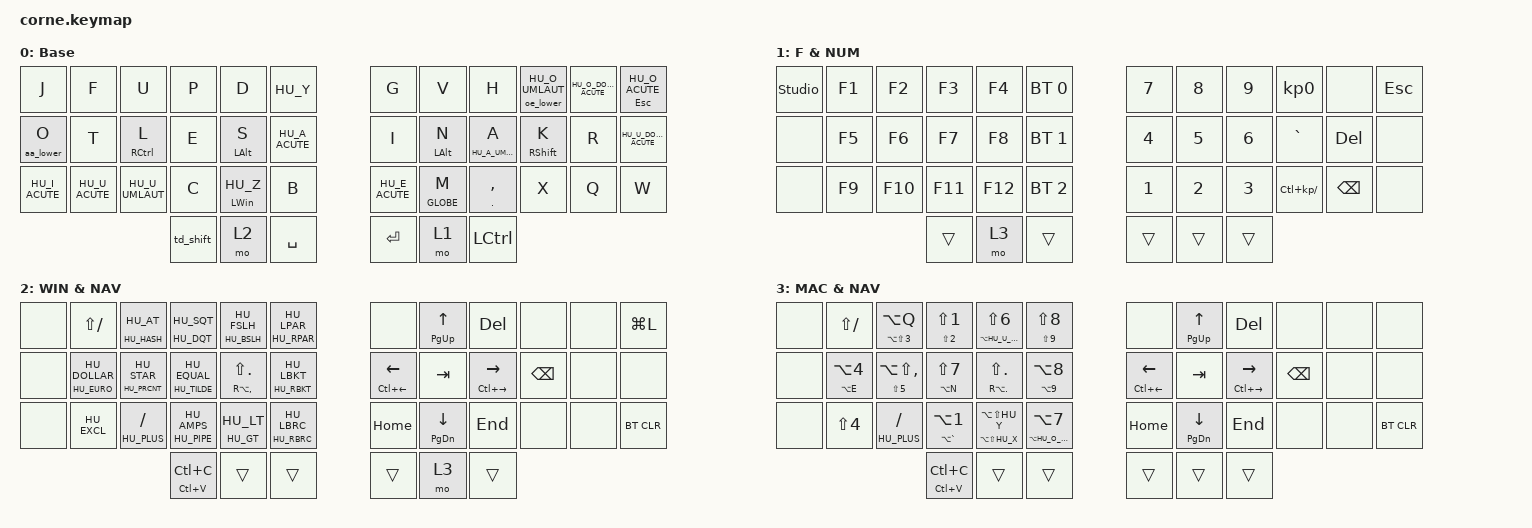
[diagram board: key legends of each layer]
/*
 * Copyright (c) 2020 The ZMK Contributors
 *
 * SPDX-License-Identifier: MIT
 */ 

#include <behaviors.dtsi>
#include <dt-bindings/zmk/keys.h>
#include <dt-bindings/zmk/bt.h>
#include "keys_hu.h"

/ {
    behaviors {
        hm: homerow_mods {
            compatible = "zmk,behavior-hold-tap";
            #binding-cells = <2>;
            tapping-term-ms = <250>;
            quick-tap-ms = <0>;
            flavor = "tap-preferred";
            bindings = <&kp>, <&kp>;
        };
        // DEDICATED hold-taps for oe_morph/aa_morph. The generic `hm` above
        // is hard-wired to &kp on both sides - passing &oe_morph/&aa_morph as
        // its param turns the phandle into a raw (garbage) keycode instead of
        // invoking the behavior. These name oe_morph/aa_morph directly as the
        // hold-side behavior, so HOLD really runs the mod-morph and TAP runs
        // &kp. The first invocation param is unused (oe_morph/aa_morph take
        // none) - pass 0.
        hm_oe: hm_oe {
            compatible = "zmk,behavior-hold-tap";
            #binding-cells = <2>;
            tapping-term-ms = <250>;
            quick-tap-ms = <0>;
            flavor = "tap-preferred";
            bindings = <&oe_lower>, <&kp>;
        };
        hm_aa: hm_aa {
            compatible = "zmk,behavior-hold-tap";
            #binding-cells = <2>;
            tapping-term-ms = <250>;
            quick-tap-ms = <0>;
            flavor = "tap-preferred";
            bindings = <&aa_lower>, <&kp>;
        };
        // Tap the thumb SHIFT key once for a normal shift, twice within
        // 300ms for caps word (auto-releases after the next word).
        td_shift: tap_dance_shift {
            compatible = "zmk,behavior-tap-dance";
            #binding-cells = <0>;
            tapping-term-ms = <300>;
            bindings = <&kp LSHIFT>, <&caps_word>;
        };
    };

        macros {
            ctrl_ctv: ctrl_ctv {
                compatible = "zmk,behavior-macro";
                #binding-cells = <0>;
                bindings
                    = <&macro_press &kp LCTRL>
                    , <&macro_tap &kp C &kp T &kp V>
                    , <&macro_release &kp LCTRL>
                    , <&macro_tap &kp RET>
                    ;
            };
            // TWO installed languages (Ctrl+Shift+1) and DIRECT per-language
            // switch hotkeys, not the generic Alt+Shift toggle - four
            // languages are installed, so a toggle would cycle through all
            // four instead of flipping Hungarian<->Norwegian. Windows'
            // "input language hot keys" dialog assigns Ctrl+Shift+<list
            // position> per language: Hungarian = 1, Norwegian = 2 here. Each
            // switch macro jumps straight to its target regardless of how
            // many other languages exist.
            //
            // wait-ms is 120, not 5: the OS needs a moment to actually apply
            // the language switch before the next keystroke is interpreted
            // under it - firing the letter immediately risks it landing on
            // the OLD layout still.
            //
            // Physical keys used, on the Norwegian layout: the key at the [
            // position is å/Å, the key at the ; position is ø/Ø.
            switch_to_no: switch_to_no {
                compatible = "zmk,behavior-macro";
                #binding-cells = <0>;
                wait-ms = <120>;
                tap-ms = <5>;
                bindings
                    = <&macro_press &kp LCTRL &kp LSHIFT>
                    , <&macro_tap &kp N2>
                    , <&macro_release &kp LCTRL &kp LSHIFT>
                    ;
            };
            switch_to_hu: switch_to_hu {
                compatible = "zmk,behavior-macro";
                #binding-cells = <0>;
                wait-ms = <120>;
                tap-ms = <5>;
                bindings
                    = <&macro_press &kp LCTRL &kp LSHIFT>
                    , <&macro_tap &kp N1>
                    , <&macro_release &kp LCTRL &kp LSHIFT>
                    ;
            };
            aa_lower: aa_lower {
                compatible = "zmk,behavior-macro";
                #binding-cells = <0>;
                wait-ms = <120>;
                tap-ms = <5>;
                bindings
                    = <&macro_tap &switch_to_no>
                    , <&macro_tap &kp LBKT>
                    , <&macro_tap &switch_to_hu>
                    ;
            };
            oe_lower: oe_lower {
                compatible = "zmk,behavior-macro";
                #binding-cells = <0>;
                wait-ms = <120>;
                tap-ms = <5>;
                bindings
                    = <&macro_tap &switch_to_no>
                    , <&macro_tap &kp SEMI>
                    , <&macro_tap &switch_to_hu>
                    ;
            };
        };

        combos{
                compatible = "zmk,combos";
                combo_alt_shift_up {
                    timeout-ms = <50>;
                    key-positions = <6 18>;
                    bindings = <&kp LA(LS(UP_ARROW))>;
                };

                combo_alt_shift_down {
                    timeout-ms = <50>;
                    key-positions = <18 30>;
                    bindings = <&kp LA(LS(DOWN_ARROW))>;
                };

                combo_ctrl_enter {
                    timeout-ms = <50>;
                    key-positions = <6 7>;
                    bindings = <&kp LC(ENTER)>;
                };
                combo_ctrl_f {
                    timeout-ms = <50>;
                    key-positions = <4 5>;
                    bindings = <&kp LC(F)>;
                };
                combo_ctrl_ctv {
                    timeout-ms = <50>;
                    key-positions = <16 17>;
                    bindings = <&ctrl_ctv>;
                };
                combo_alt_f4 {
                    timeout-ms = <50>;
                    key-positions = <10 11>;
                    bindings = <&kp LA(F4)>;
                };
                
        };

         
        keymap {
                compatible = "zmk,keymap";

                default_layer { 
                        display-name = "Base";
                        bindings = <
// ╭───────────────────┬───────────────┬────────────────┬─────────────┬─────────────────┬────────────────╮ ╭───────────────┬─────────────────────┬─────────────────┬───────────────────┬─────────────────────┬───────────────────────╮
// | j                 |  f            |  u             |  p          |  d              |  y             | |  g            |  v                  |  h              |  ö (Ø)            |  ő                  |  ó (ESC)              |11
     &kp J                &kp F           &kp  U           &kp P         &kp D             &kp HU_Y           &kp G           &kp V                 &kp H           &hm_oe 0 HU_O_UMLAUT &kp HU_O_DOUBLE_ACUTE  &hm ESC HU_O_ACUTE      
// ├───────────────────┼───────────────┼────────────────┼─────────────┼─────────────────┼────────────────┤ ├───────────────┼─────────────────────┼─────────────────┼───────────────────┼─────────────────────┼───────────────────────┤
// | o (å)             |  t            |  l (CRTL)      |  e          |  s _(ALT/OPTION)|  á             | |  i            |  n _ (ALT/OPTION)   |   a (ä)         |  k (SHIFT)        |   r                 | ű                     |23
     &hm_aa 0 O           &kp T           &hm RCTRL L      &kp E         &hm LALT S        &kp HU_A_ACUTE     &kp I           &hm LALT N          &hm HU_A_UMLAUT A   &hm RSHIFT K         &kp R               &kp HU_U_DOUBLE_ACUTE  
// ├───────────────────┼───────────────┼────────────────┼─────────────┼─────────────────┼────────────────┤ ├───────────────┼─────────────────────┼─────────────────┼───────────────────┼─────────────────────┼───────────────────────┤    
// | í                 |  ú            |  ü             |  c          |  z (WIN/CONTROL)|  b             | |  é            |  m (FN)             |  , (.)          |  x                |   q                 |  w                    |35 
     &kp HU_I_ACUTE      &kp HU_U_ACUTE  &kp HU_U_UMLAUT  &kp C          &hm LWIN HU_Z     &kp B             &kp HU_E_ACUTE   &hm GLOBE M           &hm DOT COMMA     &kp X                &kp Q                &kp W
// ╰───────────────────┴───────────────┴────────────────┼─────────────┼─────────────────┼────────────────┤ ├───────────────┼─────────────────────┼─────────────────┼───────────────────┴─────────────────────┴───────────────────────╯
//                                                      |  SHIFT      |                 |  SPACE         | |  ENTER        |                     |  CTRL           |  41                         
                                                           &td_shift      &mo 2            &kp SPACE          &kp RET         &mo 1                 &kp LCTRL
//                                                      ╰─────────────┴─────────────────┴────────────────╯ ╰───────────────┴─────────────────────┴─────────────────╯                                         

                        >;
                };


                raise_layer { 
                        display-name = "F & NUM";
                        bindings = <
// ╭──────────┬──────────────┬─────────────┬───────────────┬──────────────┬─────────────────╮ ╭─────────────┬─────────────┬─────────────┬───────────────────┬───────────────┬───────────────╮
// | studio   |  F1          |  F2         |  F3           |   F4         |  BT1            | |  7          |   8         |  9          |  mac 0            |               | ESC           | 52
     &studio_unlock &kp F1    &kp F2        &kp F3          &kp F4          &bt BT_SEL 0        &kp N7         &kp N8       &kp N9        &kp KP_N0          &none           &kp ESC
// ├──────────┼──────────────┼─────────────┼───────────────┼──────────────┼─────────────────┤ ├─────────────┼─────────────┼─────────────┼───────────────────┼───────────────┼───────────────┤
// |          |  F5          |  F6         |  F7           |  F8          |  BT2            | |  4          |   5         |  6          |  0                | DEL           |               | 64
     &none       &kp F5         &kp F6        &kp F7         &kp F8          &bt BT_SEL 1        &kp N4         &kp N5       &kp N6        &kp GRAVE          &kp DEL         &none 
// ├──────────┼──────────────┼─────────────┼───────────────┼──────────────┼─────────────────┤ ├─────────────┼─────────────┼─────────────┼───────────────────┼───────────────┼───────────────┤
// |          |  F9          |  F10        |  F11          |  F12         |  BT3            | |  1          |   2         |  3          | ctrl + /          |  BSPC         |               | 76      
     &none       &kp F9         &kp F10       &kp F11         &kp F12        &bt BT_SEL 2        &kp N1         &kp N2       &kp N3       &kp LC(KP_DIVIDE)    &kp BSPC       &none   
// ╰──────────┴──────────────┴─────────────┼───────────────┼──────────────┼─────────────────┤ ├─────────────┼─────────────┼─────────────┼───────────────────┴───────────────┴───────────────╯
//                                         |               |              |                 | |             |             |             |  82 
                                                &trans          &mo 3        &trans              &trans         &trans       &trans   
//                                         ╰───────────────┴──────────────┴─────────────────╯ ╰─────────────┴─────────────┴─────────────╯                                         

                        >;
                };

                lower_layer { 
                        display-name = "WIN & NAV";
                        bindings = <
// ╭────────────────────────┬───────────────────────┬─────────────────────┬──────────────────────────┬───────────────────────┬─────────────────────╮ ╭─────────────────────┬─────────────────┬─────────────────────┬───────────────────┬───────────────┬───────────────╮
// |                        |  _                    |  @ (#)              |  ' (")                   |    / \                |  ( )                | |                     | UP(PAGE UP)     |  DEL                |                   |               |   win lock    | 94
        &none                  &kp LS(FSLH)            &hm HU_HASH HU_AT     &hm HU_DQT HU_SQT         &hm HU_BSLH HU_FSLH      &hm HU_RPAR HU_LPAR       &none               &hm PG_UP UP       &kp DEL               &none               &none           &kp LG(L)
// ├────────────────────────┼───────────────────────┼─────────────────────┼──────────────────────────┼───────────────────────┼─────────────────────┤ ├─────────────────────┼─────────────────┼─────────────────────┼───────────────────┼───────────────┼───────────────┤    
// |                        |  $ (€)                |  * (%)              |  = (~)                   |  : (;)                |  [ ]                | | LEFT(HOME)          |  TAB            | RIGHT(CTRL +R)      |  BSPC             |               |               | 106   
        &none                  &hm HU_EURO HU_DOLLAR  &hm HU_PRCNT HU_STAR   &hm HU_TILDE HU_EQUAL      &hm RA(COMMA) LS(DOT)   &hm HU_RBKT HU_LBKT     &hm LC(LEFT) LEFT     &kp TAB          &hm LC(RIGHT) RIGHT    &kp BSPC            &none            &none
// ├────────────────────────┼───────────────────────┼─────────────────────┼──────────────────────────┼───────────────────────┼─────────────────────┤ ├─────────────────────┼─────────────────┼─────────────────────┼───────────────────┼───────────────┼───────────────┤
// |                        |  !                    |  - (+)              |  & ("|")                 |  <>                   |  { }                | |  HOME               | DOWN(PG_DN)     |   END               |                   |               |  clear bt     | 118   
        &none                  &kp HU_EXCL            &hm HU_PLUS FSLH       &hm HU_PIPE HU_AMPS        &hm HU_GT HU_LT         &hm HU_RBRC HU_LBRC     &kp HOME             &hm PG_DN DOWN      &kp END              &none                &none          &bt BT_CLR
// ╰────────────────────────┴───────────────────────┴─────────────────────┼──────────────────────────┼───────────────────────┼─────────────────────┤ ├─────────────────────┼─────────────────┼─────────────────────┼───────────────────┴───────────────┴───────────────╯
//                                                                        |  copy (paste)            |                       |                     | |                     |                 |                     |   124  
                                                                             &hm LC(V) LC(C)           &trans                  &trans                   &trans                &mo 3              &trans
//                                                                        ╰──────────────────────────┴───────────────────────┴─────────────────────╯ ╰─────────────────────┴─────────────────┴─────────────────────╯                                         
                                                                                                                     
                        >;
                };
                
                lower_mac_layer { 
                        display-name = "MAC & NAV"; 
                        bindings = <
// ╭──────────────────┬───────────────────┬──────────────────────────┬──────────────────────┬───────────────────────────────┬───────────────────────────╮ ╭─────────────────────┬─────────────────┬─────────────────────┬───────────────────┬───────────────┬───────────────╮
// |                  |  _                |  @ (#)                   |  ' (")               |    / \                        |  ( )                      | |                     |  UP(PAGE UP)    |  DEL                |                   |               |               | 136
       &none            &kp LS(FSLH)         &hm LA(LS(N3)) LA(Q)       &hm LS(N2) LS(N1)      &hm LA(HU_U_UMLAUT) LS(N6)       &hm LS(N9) LS(N8)              &none                &hm PG_UP UP      &kp DEL                &none             &none            &none
// ├──────────────────┼───────────────────┼──────────────────────────┼──────────────────────┼───────────────────────────────┼───────────────────────────┤ ├─────────────────────┼─────────────────┼─────────────────────┼───────────────────┼───────────────┼───────────────┤    
// |                  |  $ (€)            |  * (%)                   |  = (~)               |  : (;)                        |  [ ]                      | |  LEFT(HOME)         |  TAB            | RIGHT(CTRL +R)      |  BSPC             |               |               | 148   
       &none            &hm LA(E) LA(N4)    &hm LS(N5) LA(LS(COMMA))   &hm LA(N) LS(N7)       &hm RA(DOT) LS(DOT)             &hm LA(N9) LA(N8)             &hm LC(LEFT) LEFT     &kp TAB          &hm LC(RIGHT) RIGHT    &kp BSPC            &none           &none
// ├──────────────────┼───────────────────┼──────────────────────────┼──────────────────────┼───────────────────────────────┼───────────────────────────┤ ├─────────────────────┼─────────────────┼─────────────────────┼───────────────────┼───────────────┼───────────────┤
// |                  |  !                |  - (+)                   |  & ("|")             |  <>                           |  { }                      | |  HOME               | DOWN(PG_DN)     |   END               |                   |               | clear bt      | 160   
       &none             &kp LS(N4)         &hm HU_PLUS FSLH            &hm LA(GRAVE) LA(N1)   &hm LA(LS(HU_X)) LA(LS(HU_Y))   &hm LA(HU_O_UMLAUT) LA(N7)    &kp HOME             &hm PG_DN DOWN      &kp END              &none               &none           &bt BT_CLR
// ╰──────────────────┴───────────────────┴──────────────────────────┼──────────────────────┼───────────────────────────────┼───────────────────────────┤ ├─────────────────────┼─────────────────┼─────────────────────┼───────────────────┴───────────────┴───────────────╯
//                                                                   |  copy (paste)        |                               |                           | |                     |                 |                     |   166  
                                                                        &hm LC(V) LC(C)          &trans                          &trans                         &trans             &trans           &trans
//                                                                   ╰──────────────────────┴───────────────────────────────┴───────────────────────────╯ ╰─────────────────────┴─────────────────┴─────────────────────╯                                         
                                                                                                                     
                        >;
                };

        };
};
